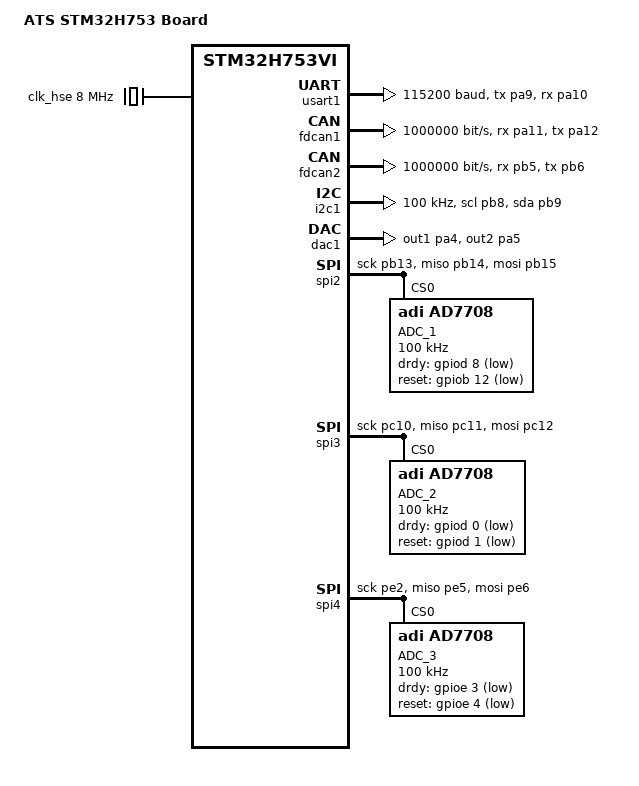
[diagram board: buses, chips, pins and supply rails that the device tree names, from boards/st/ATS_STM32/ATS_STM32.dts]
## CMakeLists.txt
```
# SPDX-License-Identifier: Apache-2.0
cmake_minimum_required(VERSION 3.20.0)

# Generate compile_commands.json for clangd and other tooling.
set(CMAKE_EXPORT_COMPILE_COMMANDS ON)

list(APPEND BOARD_ROOT ${CMAKE_CURRENT_SOURCE_DIR})

find_package(Zephyr REQUIRED HINTS $ENV{ZEPHYR_BASE})
project(ATS_STM32)

target_include_directories(app PRIVATE
    ${CMAKE_CURRENT_SOURCE_DIR}/include
)

# Build only the small set of source files needed for the current bring-up task.
# This keeps old project-specific code out of the build while the new hardware
# test program is being brought up.
target_sources(app PRIVATE
    ${CMAKE_CURRENT_SOURCE_DIR}/src/main.cpp
    ${CMAKE_CURRENT_SOURCE_DIR}/src/hardware.cpp
    ${CMAKE_CURRENT_SOURCE_DIR}/src/adc.cpp
    ${CMAKE_CURRENT_SOURCE_DIR}/src/gpio.cpp
)
```

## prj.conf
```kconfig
CONFIG_CAN=y
CONFIG_DAC=y
CONFIG_GPIO=y
CONFIG_SPI=y
CONFIG_LOG=y
CONFIG_LOG_MODE_IMMEDIATE=y
CONFIG_LOG_DEFAULT_LEVEL=3
CONFIG_LOG_BACKEND_FORMAT_TIMESTAMP=y
CONFIG_LOG_BACKEND_SHOW_COLOR=y
CONFIG_MAIN_STACK_SIZE=8192


CONFIG_CBPRINTF_FP_SUPPORT=y

CONFIG_CPP=y
CONFIG_CPP_EXCEPTIONS=y
CONFIG_GLIBCXX_LIBCPP=y
CONFIG_REQUIRES_FULL_LIBCPP=y
CONFIG_CAN_STATS=y

# Keep your custom compiler flag:
CONFIG_COMPILER_OPT="-ftrack-macro-expansion=0"
CONFIG_THREAD_MONITOR=y
CONFIG_THREAD_STACK_INFO=y
CONFIG_HEAP_MEM_POOL_SIZE=16384
CONFIG_SYSTEM_WORKQUEUE_STACK_SIZE=2048
CONFIG_SYS_HEAP_RUNTIME_STATS=y
CONFIG_PRINTK=y  

CONFIG_THREAD_RUNTIME_STATS=y
CONFIG_DEBUG_OPTIMIZATIONS=y

CONFIG_SCHED_THREAD_USAGE=y
CONFIG_CPU_LOAD=y
CONFIG_STATS=y



# threading
CONFIG_MULTITHREADING=y 
CONFIG_NUM_COOP_PRIORITIES=127
CONFIG_NUM_PREEMPT_PRIORITIES=127
CONFIG_SCHED_SCALABLE=y
```

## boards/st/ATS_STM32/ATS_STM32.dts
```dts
/*
 * Created by Luke Tighe 4/9/26
 * SPDX-License-Identifier: Apache-2.0
 */

/dts-v1/;
/* Base STM32H753 SoC description. */
#include <st/h7/stm32h753Xi.dtsi>
/* STM32H753 pinmux labels used by pinctrl-0 entries below. */
#include <st/h7/stm32h753vitx-pinctrl.dtsi>
/* STM32 pinmux helper macros used for custom SPI4 pin definitions below. */
#include <zephyr/dt-bindings/pinctrl/stm32-pinctrl.h>

/ {
	/* Human-readable board identification shown in generated metadata. */
	model = "ATS STM32H753 Board";
	/* Board-specific compatible, followed by the STM32H753VI SoC family. */
	compatible = "vnd,ats-stm32", "st,stm32h753vi";

	/* Default system resources Zephyr should bind to at boot. */
	chosen {
		/* UART used for printk/logging output. */
		zephyr,console = &usart1;
		/* UART used by the Zephyr shell, if enabled. */
		zephyr,shell-uart = &usart1;
		/* Main SRAM region used for runtime allocations and data. */
		zephyr,sram = &sram0;
		/* On-chip flash used for the application image. */
		zephyr,flash = &flash0;
		/* Default CAN controller for application code and samples. */
		zephyr,canbus = &fdcan1;
	};

	/*
	 * Convenience aliases for the three external SPI ADCs and the hall-effect
	 * interrupt line.
	 * Assumption: no separate CS pin was provided, so each ADC is the only
	 * device on its SPI bus and chip select is handled externally in hardware.
	 */
	aliases {
		adc-spi1 = &ADC_1;
		adc-spi2 = &ADC_2;
		adc-spi3 = &ADC_3;
		adc1-disable = &adc1_disable;
		adc2-disable = &adc2_disable;
		adc3-disable = &adc3_disable;
		i2c-irq = &HallEffect_1;
	};

	/* Named board-level GPIO resources that application code can look up. */
	board_signals {
		/*
		 * ADC disable lines are active high.
		 * External pull-ups on the board keep the ADCs disabled until firmware
		 * actively drives these lines low.
		 */
		adc1_disable: adc1-disable {
			gpios = <&gpiod 2 GPIO_ACTIVE_HIGH>;
			label = "ADC1 Disable";
		};

		adc2_disable: adc2-disable {
			gpios = <&gpiod 4 GPIO_ACTIVE_HIGH>;
			label = "ADC2 Disable";
		};

		adc3_disable: adc3-disable {
			gpios = <&gpioc 13 GPIO_ACTIVE_HIGH>;
			label = "ADC3 Disable";
		};

		/* Hall-effect sensor interrupt line on PE1. */
		HallEffect_1: hall-effect-1 {
			gpios = <&gpioe 1 GPIO_ACTIVE_LOW>;
			label = "Hall Effect 1";
		};
	};
};

/* External high-speed clock source feeding the PLLs. */
&clk_hse {
	clock-frequency = <DT_FREQ_M(8)>;
	status = "okay";
};

/* Main PLL generates the 480 MHz system clock tree. */
&pll {
	div-m = <2>;
	mul-n = <240>;
	div-p = <2>;
	div-q = <2>;
	div-r = <2>;
	clocks = <&clk_hse>;
	status = "okay";
};

/* Secondary PLL is used here to generate the FDCAN kernel clock. */
&pll2 {
	div-m = <4>;
	mul-n = <120>;
	div-p = <2>;
	div-q = <3>;
	div-r = <2>;
	clocks = <&clk_hse>;
	status = "okay";
};

/* RCC selects the system clock source and bus prescalers. */
&rcc {
	clocks = <&pll>;
	clock-frequency = <DT_FREQ_M(480)>;
	d1cpre = <1>;
	hpre = <2>;
	d1ppre = <2>;
	d2ppre1 = <2>;
	d2ppre2 = <2>;
	d3ppre = <2>;
};

/* STM32H7 power configuration. "ldo" matches a typical direct LDO setup. */
&pwr {
	power-supply = "ldo";
};

/* Enable GPIO controller blocks so pins can be configured from application code. */
&gpioa { status = "okay"; };
&gpiob { status = "okay"; };
&gpioc { status = "okay"; };
&gpiod { status = "okay"; };
&gpioe { status = "okay"; };

/* Primary debug/logging UART routed to PA9/PA10. */
&usart1 {
	pinctrl-0 = <&usart1_tx_pa9 &usart1_rx_pa10>;
	pinctrl-names = "default";
	current-speed = <115200>;
	status = "okay";
};

/* CAN1 */
&fdcan1 {
	clocks = <&rcc STM32_CLOCK(APB1_2, 8)>,
		 <&rcc STM32_SRC_PLL2_Q FDCAN_SEL(2)>;
	pinctrl-0 = <&fdcan1_rx_pa11 &fdcan1_tx_pa12>;
	pinctrl-names = "default";
	/* 1 Mbit/s nominal bitrate with an 87.5% sample point. */
	bitrate = <1000000>;
	sample-point = <875>;
	status = "okay";
};

/* CAN2 */
&fdcan2 {
	clocks = <&rcc STM32_CLOCK(APB1_2, 9)>,
		 <&rcc STM32_SRC_PLL2_Q FDCAN_SEL(2)>;
	pinctrl-0 = <&fdcan2_rx_pb5 &fdcan2_tx_pb6>;
	pinctrl-names = "default";
	bitrate = <1000000>;
	sample-point = <875>;
	status = "okay";
};

/* I2C1 routed to PB8/PB9 for external peripherals. */
&i2c1 {
	pinctrl-0 = <&i2c1_scl_pb8 &i2c1_sda_pb9>;
	pinctrl-names = "default";
	status = "okay";
	clock-frequency = <I2C_BITRATE_STANDARD>;
};

/*
 * DAC1 exposes two analog outputs on PA4 and PA5.
 * These pins are dedicated DAC outputs in the current firmware.
 */
&dac1 {
	pinctrl-0 = <&dac1_out1_pa4 &dac1_out2_pa5>;
	pinctrl-names = "default";
	status = "okay";
};

/* ADC1 SPI bus: PB15 MOSI, PB14 MISO, PB13 SCK. */
&spi2 {
	pinctrl-0 = <&spi2_sck_pb13 &spi2_miso_pb14 &spi2_mosi_pb15>;
	pinctrl-names = "default";
	status = "okay";

	/* AD7708 #1 control signals: PD8 DRDY, PB12 reset. */
	ADC_1: adc@0 {
		compatible = "adi,ad7708";
		reg = <0>;
		spi-max-frequency = <100000>;
		drdy-gpios = <&gpiod 8 GPIO_ACTIVE_LOW>;
		reset-gpios = <&gpiob 12 GPIO_ACTIVE_LOW>;
		status = "okay";
	};
};

/* ADC2 SPI bus: PC12 MOSI, PC11 MISO, PC10 SCK. */
&spi3 {
	pinctrl-0 = <&spi3_sck_pc10 &spi3_miso_pc11 &spi3_mosi_pc12>;
	pinctrl-names = "default";
	status = "okay";

	/* AD7708 #2 control signals: PD0 DRDY, PD1 reset. */
	ADC_2: adc@0 {
		compatible = "adi,ad7708";
		reg = <0>;
		spi-max-frequency = <100000>;
		drdy-gpios = <&gpiod 0 GPIO_ACTIVE_LOW>;
		reset-gpios = <&gpiod 1 GPIO_ACTIVE_LOW>;
		status = "okay";
	};
};

/* ADC3 SPI bus: PE6 MOSI, PE5 MISO, PE2 SCK. */
&spi4 {
	pinctrl-0 = <&spi4_sck_pe2 &spi4_miso_pe5 &spi4_mosi_pe6>;
	pinctrl-names = "default";
	status = "okay";

	/* AD7708 #3 control signals: PE3 DRDY, PE4 reset. */
	ADC_3: adc@0 {
		compatible = "adi,ad7708";
		reg = <0>;
		spi-max-frequency = <100000>;
		drdy-gpios = <&gpioe 3 GPIO_ACTIVE_LOW>;
		reset-gpios = <&gpioe 4 GPIO_ACTIVE_LOW>;
		status = "okay";
	};
};

/* Custom pinctrl entries for SPI4 on GPIOE, since these pins are board-specific. */
&pinctrl {
	spi4_sck_pe2: spi4_sck_pe2 {
		pinmux = <STM32_PINMUX('E', 2, AF5)>;
	};

	spi4_miso_pe5: spi4_miso_pe5 {
		pinmux = <STM32_PINMUX('E', 5, AF5)>;
	};

	spi4_mosi_pe6: spi4_mosi_pe6 {
		pinmux = <STM32_PINMUX('E', 6, AF5)>;
	};
};
```

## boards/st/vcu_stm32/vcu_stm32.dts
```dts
/*
 * Copyright (c) 2025 VCU Team
 * SPDX-License-Identifier: Apache-2.0
 */

/dts-v1/;
#include <st/h7/stm32h753Xi.dtsi>
#include <st/h7/stm32h753zitx-pinctrl.dtsi>
#include <zephyr/dt-bindings/input/input-event-codes.h>

/ {
	model = "VCU STM32H753VIT6 Custom Board";
	compatible = "st,stm32h753vi";

	chosen {
		zephyr,console = &usart3;
		zephyr,shell-uart = &usart3;
		zephyr,sram = &sram0;
		zephyr,flash = &flash0;
		zephyr,dtcm = &dtcm;
		zephyr,canbus = &fdcan1;
	};

	leds {
		compatible = "gpio-leds";
		err_led_yellow: led_0 {
			gpios = <&gpioe 2 GPIO_ACTIVE_HIGH>;
			label = "ERR LED Yellow";
		};
		err_led_orange: led_1 {
			gpios = <&gpioe 3 GPIO_ACTIVE_HIGH>;
			label = "ERR LED Orange";
		};
		err_led_red: led_2 {
			gpios = <&gpioe 4 GPIO_ACTIVE_HIGH>;
			label = "ERR LED Red";
		};
		err_led_blue: led_3 {
			gpios = <&gpioe 5 GPIO_ACTIVE_HIGH>;
			label = "ERR LED Blue";
		};
		err_led_green: led_4 {
			gpios = <&gpioe 6 GPIO_ACTIVE_HIGH>;
			label = "ERR LED Green";
		};
	};

	vcu_signals {
		compatible = "gpio-leds";
		horn_signal: horn_sig {
			gpios = <&gpioc 8 GPIO_ACTIVE_HIGH>;
			label = "Horn Signal";
		};
		drive_enable: drive_en {
			gpios = <&gpioc 9 GPIO_ACTIVE_HIGH>;
			label = "Drive Enable";
		};
		air_ctrl: air_control {
			gpios = <&gpioa 8 GPIO_ACTIVE_HIGH>;
			label = "AIR Control";
		};
	};

	aliases {
		led0 = &err_led_yellow;
		led1 = &err_led_orange;
		led2 = &err_led_red;
		led3 = &err_led_blue;
		led4 = &err_led_green;
		horn = &horn_signal;
		drive-enable = &drive_enable;
		air-ctrl = &air_ctrl;
	};
};

// &clk_lse {
// 	status = "okay";
// };




&clk_hsi {
	status = "okay";
};

&pll {
    div-m = <16>;     // 64 MHz / 16 = 4 MHz (same as Nucleo!)
    mul-n = <240>;    // 4 MHz × 240 = 960 MHz VCO ✓
    div-p = <2>;      // 960 / 2 = 480 MHz ✓
    div-q = <2>;      // 960 / 2 = 480 MHz
    div-r = <2>;      // 960 / 2 = 480 MHz
    clocks = <&clk_hsi>;  // ← Changed from HSE to HSI
    status = "okay";
};

&pll2 {
    div-m = <32>;     // 64 MHz / 32 = 2 MHz
    mul-n = <120>;    // 2 MHz × 120 = 240 MHz VCO
    div-p = <2>;      // 240 / 2 = 120 MHz
    div-q = <3>;      // 240 / 3 = 80 MHz (for FDCAN) ✓
    div-r = <2>;      // 240 / 2 = 120 MHz
    clocks = <&clk_hsi>;  // ← Changed from HSE to HSI
    status = "okay";
};

&rcc {
    clocks = <&pll>;
    clock-frequency = <DT_FREQ_M(480)>;
    d1cpre = <1>;
    hpre = <2>;
    d1ppre = <2>;
    d2ppre1 = <2>;
    d2ppre2 = <2>;
    d3ppre = <2>;
};

/* Enable GPIO ports */
&gpioa {
	status = "okay";
};

&gpiob {
	status = "okay";
};

&gpioc {
	status = "okay";
};

&gpiod {
	status = "okay";
};

&gpioe {
	status = "okay";
};

&usart3 {
	pinctrl-0 = <&usart3_tx_pd8 &usart3_rx_pd9>;
	pinctrl-names = "default";
	current-speed = <115200>;
	status = "okay";
};

&fdcan1 {
	clocks = <&rcc STM32_CLOCK_BUS_APB1_2 0x00000100>,
		 <&rcc STM32_SRC_PLL2_Q FDCAN_SEL(2)>;
	pinctrl-0 = <&fdcan1_rx_pb8 &fdcan1_tx_pb9>;
	pinctrl-names = "default";
	status = "okay";
};

&fdcan2 {
	clocks = <&rcc STM32_CLOCK_BUS_APB1_2 0x00000200>,
		 <&rcc STM32_SRC_PLL2_Q FDCAN_SEL(2)>;
	pinctrl-0 = <&fdcan2_rx_pb5 &fdcan2_tx_pb6>;
	pinctrl-names = "default";
	status = "okay";
};

&adc1 {
	pinctrl-0 = <&adc1_inp16_pa0 &adc1_inp17_pa1 
	             &adc1_inp14_pa2 &adc1_inp15_pa3
	             &adc1_inp18_pa4 &adc1_inp19_pa5
	             &adc1_inp3_pa6 &adc1_inp7_pa7>;
	pinctrl-names = "default";
	st,adc-clock-source = "SYNC";
	st,adc-prescaler = <4>;
	vref-mv = <3300>;
	status = "okay";

	#address-cells = <1>;
	#size-cells = <0>;

	channel@0 {
		reg = <0>;
		zephyr,gain = "ADC_GAIN_1";
		zephyr,reference = "ADC_REF_VDD_1";
		zephyr,acquisition-time = <ADC_ACQ_TIME_DEFAULT>;
		zephyr,resolution = <12>;
		zephyr,input-positive = <16>;  /* PA0 - INP16 */
	};

	channel@1 {
		reg = <1>;
		zephyr,gain = "ADC_GAIN_1";
		zephyr,reference = "ADC_REF_VDD_1";
		zephyr,acquisition-time = <ADC_ACQ_TIME_DEFAULT>;
		zephyr,resolution = <12>;
		zephyr,input-positive = <17>;  /* PA1 - INP17 */
	};

	channel@2 {
		reg = <2>;
		zephyr,gain = "ADC_GAIN_1";
		zephyr,reference = "ADC_REF_VDD_1";
		zephyr,acquisition-time = <ADC_ACQ_TIME_DEFAULT>;
		zephyr,resolution = <12>;
		zephyr,input-positive = <14>;  /* PA2 - INP14 */
	};

	channel@3 {
		reg = <3>;
		zephyr,gain = "ADC_GAIN_1";
		zephyr,reference = "ADC_REF_VDD_1";
		zephyr,acquisition-time = <ADC_ACQ_TIME_DEFAULT>;
		zephyr,resolution = <12>;
		zephyr,input-positive = <15>;  /* PA3 - INP15 */
	};

	channel@4 {
		reg = <4>;
		zephyr,gain = "ADC_GAIN_1";
		zephyr,reference = "ADC_REF_VDD_1";
		zephyr,acquisition-time = <ADC_ACQ_TIME_DEFAULT>;
		zephyr,resolution = <12>;
		zephyr,input-positive = <18>;  /* PA4 - INP18 */
	};

	channel@5 {
		reg = <5>;
		zephyr,gain = "ADC_GAIN_1";
		zephyr,reference = "ADC_REF_VDD_1";
		zephyr,acquisition-time = <ADC_ACQ_TIME_DEFAULT>;
		zephyr,resolution = <12>;
		zephyr,input-positive = <19>;  /* PA5 - INP19 */
	};

	channel@6 {
		reg = <6>;
		zephyr,gain = "ADC_GAIN_1";
		zephyr,reference = "ADC_REF_VDD_1";
		zephyr,acquisition-time = <ADC_ACQ_TIME_DEFAULT>;
		zephyr,resolution = <12>;
		zephyr,input-positive = <3>;   /* PA6 - INP3 */
	};

	channel@7 {
		reg = <7>;
		zephyr,gain = "ADC_GAIN_1";
		zephyr,reference = "ADC_REF_VDD_1";
		zephyr,acquisition-time = <ADC_ACQ_TIME_DEFAULT>;
		zephyr,resolution = <12>;
		zephyr,input-positive = <7>;   /* PA7 - INP7 */
	};
};
&pinctrl {
    adc1_inp16_pa0: adc1_inp16_pa0 {
        pinmux = <STM32_PINMUX('A', 0, ANALOG)>;
    };
    adc1_inp17_pa1: adc1_inp17_pa1 {
        pinmux = <STM32_PINMUX('A', 1, ANALOG)>;
    };
    adc1_inp14_pa2: adc1_inp14_pa2 {
        pinmux = <STM32_PINMUX('A', 2, ANALOG)>;
    };
    adc1_inp15_pa3: adc1_inp15_pa3 {
        pinmux = <STM32_PINMUX('A', 3, ANALOG)>;
    };
    adc1_inp18_pa4: adc1_inp18_pa4 {
        pinmux = <STM32_PINMUX('A', 4, ANALOG)>;
    };
    adc1_inp19_pa5: adc1_inp19_pa5 {
        pinmux = <STM32_PINMUX('A', 5, ANALOG)>;
    };
    adc1_inp3_pa6: adc1_inp3_pa6 {
        pinmux = <STM32_PINMUX('A', 6, ANALOG)>;
    };
    adc1_inp7_pa7: adc1_inp7_pa7 {
        pinmux = <STM32_PINMUX('A', 7, ANALOG)>;
    };
};

&flash0 {
	partitions {
		compatible = "fixed-partitions";
		#address-cells = <1>;
		#size-cells = <1>;

		boot_partition: partition@0 {
			label = "mcuboot";
			reg = <0x00000000 DT_SIZE_K(128)>;
		};
		slot0_partition: partition@20000 {
			label = "image-0";
			reg = <0x00020000 DT_SIZE_K(448)>;
		};
		slot1_partition: partition@90000 {
			label = "image-1";
			reg = <0x00090000 DT_SIZE_K(448)>;
		};
		storage_partition: partition@100000 {
			label = "storage";
			reg = <0x00100000 DT_SIZE_K(1024)>;
		};
	};
};
```

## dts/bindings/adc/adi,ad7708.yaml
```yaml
# SPDX-License-Identifier: Apache-2.0

description: Analog Devices AD7708 SPI ADC

compatible: "adi,ad7708"

include: [base.yaml, spi-device.yaml]

properties:
  drdy-gpios:
    type: phandle-array
    required: true
    description: Data-ready output from the ADC.

  reset-gpios:
    type: phandle-array
    required: true
    description: Hardware reset input for the ADC.
```

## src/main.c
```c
/*
 * Copyright (c) 2016 Intel Corporation
 *
 * SPDX-License-Identifier: Apache-2.0
 */

#include "CanInitializer.h"
#include <stdio.h>
#include <sys/_intsup.h>
#include <zephyr/drivers/gpio.h>
#include <zephyr/kernel.h>

/* 1000 msec = 1 sec */
#define SLEEP_TIME_MS 1000

#define DEBUGGING 0

// Placeholder values while we do not have read numbers (most likely same as 24 car)
const int ocThreshold = 1; // Open Circuit threshold
const int scThreshold = 2;  // Short Circuit threshold

// Class for the pedals contains how to read pedal positions and check Open Circuit and Short Circuit faults
struct pedalSensor {
    const int inputPin;
    const int zeroPos;
    const int fullPos;
    const int onLedPin;
    const int ocLedPin;
    const int scLedPin;

    public:
        float pedalPercentage() const {
            float percent = ((float) analogRead(inputPin) - zeroPos) / (fullPos - zeroPos);
            if (percent < 0.0f) {
                percent = 0.0f;
            } else if (percent > 1.0f) {
                percent = 1.0f;
            }
            return percent;
        }

        // Checks for a Short Circuit by reading the value of the sensor and comparing it to the threshold defined above
        bool checkOpenCircuit() const {
            bool isOpenCircuit = analogRead(inputPin) < ocThreshold;
            digitalWrite(ocLedPin, isOpenCircuit);
            #ifdef DEBUGGING
            printf("Pedal %d: Open Circuit %s\n", inputPin, isOpenCircuit ? "detected" : "not detected");
            #endif
            return isOpenCircuit;
        }

        // Checks for a Short Circuit by reading the value of the sensor and comparing it to the threshold defined above
        bool checkShortCircuit() const {
            bool isShortCircuit = analogRead(inputPin) > scThreshold;
            digitalWrite(scLedPin, isShortCircuit);
            #ifdef DEBUGGING
            printf("Pedal %d: Short Circuit %s\n", inputPin, isShortCircuit ? "detected" : "not detected");
            #endif
            return isShortCircuit;
        }
}

/* The devicetree node identifier for the "led0" alias. */

/*
 * A build error on this line means your board is unsupported.
 * See the sample documentation for information on how to fix this.
 */

int main(void) {}
```

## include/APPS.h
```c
#pragma once

#include "hardware.h"
#include "periodic_task.h"
#include "vehicle_state.h"

class APPSTask : public PeriodicTask<APPSTask>
{
    friend class PeriodicTask<APPSTask>;

  public:
    void set_hardware(Hardware *hw)
    {
        hardware_ = hw;
    }

  private:
    Hardware *hardware_ = nullptr;
    int64_t agreement_fault_deadline_ = 0;
    bool brake_fault_latched_ = false;

    void on_init();
    void run();

    float readPedalPercent(uint16_t raw, uint16_t low, uint16_t range, PEDAL_SLOPE_DIRECTION slope);
    bool checkOpenCircuit(uint16_t raw, uint16_t low_threshold);
    bool checkShortCircuit(uint16_t raw, uint16_t high_threshold);
    bool checkPedalAgreement(float p1_pct, float p2_pct);
    bool checkBrakeOverlap(float avg_pct);
};

// Start the APPS task. Stack and task instance are owned inside APPS.cpp.
void start_apps_task(VehicleState *v, Hardware *hw, uint32_t period_ms = 100, int priority = 5);

APPSTask &get_apps_task();
```

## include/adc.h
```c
// zephyr_adc.h
#pragma once

/* Fixed-width integer types like uint8_t, uint16_t, and int32_t. */
#include <stdint.h>
/* Zephyr SPI API and spi_dt_spec helper type. */
#include <zephyr/drivers/spi.h>
/* Zephyr GPIO API and gpio_dt_spec helper type. */
#include <zephyr/drivers/gpio.h>
/* Zephyr base device type. */
#include <zephyr/device.h>

/*
 * The AD7708 MODE register selects what the ADC is doing right now.
 * These values are written into the MODE register's MD2..MD0 bits.
 */
enum class AD7708Mode : uint8_t {
    PowerDown = 0,
    Idle = 1,
    SingleConversion = 2,
    ContinuousConversion = 3,
    InternalZeroScaleCalibration = 4,
    InternalFullScaleCalibration = 5,
    SystemZeroScaleCalibration = 6,
    SystemFullScaleCalibration = 7,
};

/*
 * The AD7708 can expose either 8 or 10 pseudo-differential inputs depending
 * on whether pins AIN9/AIN10 are used as extra analog inputs or as REF2.
 */
enum class AD7708ChannelConfiguration : uint8_t {
    EightPseudoDifferentialOrFourDifferential = 0,
    TenPseudoDifferentialOrFiveDifferential = 1,
};

/* Selects which external reference input pair the ADC uses. */
enum class AD7708Reference : uint8_t {
    RefIn1 = 0,
    RefIn2 = 1,
};

/*
 * Programmable input ranges supported by the AD7708 PGA.
 * The correct range depends on the largest signal you expect to measure.
 */
enum class AD7708InputRange : uint8_t {
    Range20mV = 0,
    Range40mV = 1,
    Range80mV = 2,
    Range160mV = 3,
    Range320mV = 4,
    Range640mV = 5,
    Range1V28 = 6,
    Range2V56 = 7,
};

/*
 * Bipolar mode returns codes around mid-scale for zero input.
 * Unipolar mode returns straight-binary codes starting at zero input.
 */
enum class AD7708Polarity : uint8_t {
    Bipolar = 0,
    Unipolar = 1,
};

/* The AD7708 has two optional digital I/O pins, P1 and P2. */
enum class AD7708GpioDirection : uint8_t {
    Input = 0,
    Output = 1,
};

/*
 * Board wiring for one physical AD7708 chip.
 *
 * This should come from devicetree:
 * - spi: which SPI bus and chip-select settings talk to this ADC
 * - drdy: the ADC data-ready pin
 * - reset: the ADC hardware reset pin
 */
struct AD7708Config {
    struct spi_dt_spec spi;
    struct gpio_dt_spec drdy;
    struct gpio_dt_spec reset;
};

/*
 * Runtime settings that control how the AD7708 performs conversions.
 *
 * This is intentionally separate from AD7708Config:
 * - AD7708Config describes board wiring.
 * - AD7708Settings describes ADC behavior.
 */
struct AD7708Settings {
    /* MODE register fields. */
    /* The operating mode to put the ADC in when configure() is called. */
    AD7708Mode mode = AD7708Mode::Idle;
    /* false keeps chop enabled for better analog performance; true improves throughput. */
    bool chop_disabled = false;
    /* Enables the internal AINCOM input buffer. */
    bool aincom_buffer_enabled = false;
    /* Selects REF1 or REF2. */
    AD7708Reference reference = AD7708Reference::RefIn1;
    /* Selects whether the part is used in 8-channel or 10-channel mode. */
    AD7708ChannelConfiguration channel_configuration =
        AD7708ChannelConfiguration::EightPseudoDifferentialOrFourDifferential;
    /* Allows the oscillator to power down while the ADC is in standby/power-down. */
    bool oscillator_power_down_in_standby = false;

    /* ADCCON register fields. */
    /* The AD7708 input channel selected for conversion. */
    uint8_t active_channel = 0;
    /* Selects bipolar or unipolar output coding. */
    AD7708Polarity polarity = AD7708Polarity::Bipolar;
    /* Selects the PGA input range. */
    AD7708InputRange input_range = AD7708InputRange::Range2V56;

    /* FILTER register field. */
    /*
     * Controls output update rate and filtering. The reset default is 0x45.
     * Smaller values are faster; larger values are slower and usually quieter.
     */
    uint8_t filter_word = 0x45;

    /* IOCON register fields for the AD7708 P1/P2 digital I/O pins. */
    /* Direction of AD7708 pin P1. */
    AD7708GpioDirection p1_direction = AD7708GpioDirection::Input;
    /* Direction of AD7708 pin P2. */
    AD7708GpioDirection p2_direction = AD7708GpioDirection::Input;
    /* Output value driven on P1 if P1 is configured as an output. */
    bool p1_output_value = false;
    /* Output value driven on P2 if P2 is configured as an output. */
    bool p2_output_value = false;

    /*
     * Optional user-provided calibration coefficients. The AD7708 has five
     * 16-bit offset registers and five 16-bit gain registers. They should only
     * be written when the ADC is inactive.
     */
    bool write_offset_calibration[5] = {};
    uint16_t offset_calibration[5] = {};
    bool write_gain_calibration[5] = {};
    uint16_t gain_calibration[5] = {};
};

/*
 * Small application-level driver for one AD7708.
 *
 * This is not a full Zephyr ADC subsystem driver. It talks to the chip directly
 * over SPI and returns raw 16-bit conversion codes.
 */
class AD7708
{
  private:
    /* Pulses the hardware reset pin and returns the chip to defaults. */
    int reset();
    /* Writes one 8-bit AD7708 register. */
    int write_reg(uint8_t reg, uint8_t value);
    /* Writes one 16-bit AD7708 register, such as offset/gain calibration. */
    int write_reg16(uint8_t reg, uint16_t value);
    /* Reads one 8-bit AD7708 register. */
    int read_reg(uint8_t reg, uint8_t *value);
    /* Reads one 16-bit AD7708 register, such as the conversion result. */
    int read_reg16(uint8_t reg, uint16_t *value);
    /* Waits until the AD7708 asserts its DRDY pin. */
    int wait_data_ready();
    /* Packs AD7708Settings into register values and writes them to the chip. */
    int write_settings_registers(const AD7708Settings &settings, AD7708Mode mode);

    /* Pointer to the board wiring/configuration for this AD7708 instance. */
    const AD7708Config *config_;
    /* Last settings successfully written to the chip. */
    AD7708Settings settings_;
    /* Tracks whether configure() or read_raw() has written settings yet. */
    bool configured_;

  public:
    /* Store the config pointer. Call init() before trying to use the ADC. */
    explicit AD7708(const AD7708Config *config);
    /* Check that SPI/GPIO devices are ready and reset the ADC. */
    int init();
    /* Apply ADC operating settings. */
    int configure(const AD7708Settings &settings);
    /* Read one raw 16-bit conversion from the requested channel. */
    int read_raw(uint8_t channel, int32_t *sample);

};
```

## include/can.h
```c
#pragma once
#include <zephyr/drivers/can.h>
#include <zephyr/kernel.h>

#include "vehicle_state.h"

using frame_handler_t = void (*)(const struct can_frame *frame, volatile VehicleState *vehicle);

class CanBus
{
  private:
    const struct device *dev_;
    uint32_t bitrate_;
    uint32_t sample_point_;
    bool initialized_;
    bool started_;
    VehicleState *vehicle_;
    uint32_t frames_rec;
    uint32_t frames_sent;

    static void can1_rx_isr(const struct device *dev, struct can_frame *frame, void *self_ptr);
    static void can2_rx_isr(const struct device *dev, struct can_frame *frame, void *self_ptr);
    void dispatch(const struct can_frame *frame);

    frame_handler_t bus_handlers[2048]{nullptr};

  public:
    CanBus(VehicleState *vehicle);

    int init(const struct device *dev, uint32_t bitrate = 1000000, uint32_t sample_point = 875);
    int start();
    int stop();

    int send(const struct can_frame *frame, k_timeout_t timeout, can_tx_callback_t callback = nullptr,
             void *user_data = nullptr);

    int register_handler(uint16_t standard_id, frame_handler_t handler);
    int add_rx_filter_msgq(struct k_msgq *msgq, const struct can_filter *filter);
    void remove_rx_filter(int filter_id);

    int get_state(enum can_state *state) const;
    int set_mode(can_mode_t mode);
    can_mode_t get_mode() const;

    bool is_initialized() const
    {
        return initialized_;
    }
    bool is_started() const
    {
        return started_;
    }

    const struct device *get_device() const
    {
        return dev_;
    }
};
```

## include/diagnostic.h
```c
#pragma once
#include "zephyr-common.h"

/* can_init ENCAPSULATES ALL CAN INITIALIZATION AND STARTUP CONFIGURATION
 * BEHAVIOR */
uint8_t diagnostics_init();
```

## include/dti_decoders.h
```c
// dti_decoders.h
#pragma once
#include <zephyr/kernel.h>
#include <zephyr/drivers/can.h>
#include "vehicle_state.h"

// ============================================================================
// Manual: DTI CAN Manual V2.5 — Standard ID (11-bit) format
// CAN ID = (packet_id << 5) | node_id
// Node ID range: 1-30, broadcast = 31 (0x1F)
//
// Node IDs:  FL=22  FR=23  RL=24  RR=25
//
// Registration example:
//   can2.register_handler((0x1F << 5) | 22, decode_dti_fl_0x1F);  // 0x3F6
//   can2.register_handler((0x20 << 5) | 22, decode_dti_fl_0x20);  // 0x416
//   can2.register_handler((0x20 << 5) | 23, decode_dti_fr_0x20);  // 0x417
//   ...
// Max ID = (0x26 << 5) | 25 = 0x4D9 (1241) — fits in 2048 table
// ============================================================================

// --- Packet 0x1F: Control mode, Target Iq, Motor position, isMotorStill ---
void decode_dti_fl_0x1F(const struct can_frame *frame, volatile VehicleState *vd);
void decode_dti_fr_0x1F(const struct can_frame *frame, volatile VehicleState *vd);
void decode_dti_rl_0x1F(const struct can_frame *frame, volatile VehicleState *vd);
void decode_dti_rr_0x1F(const struct can_frame *frame, volatile VehicleState *vd);

// --- Packet 0x20: ERPM, Duty, Input Voltage ---
void decode_dti_fl_0x20(const struct can_frame *frame, volatile VehicleState *vd);
void decode_dti_fr_0x20(const struct can_frame *frame, volatile VehicleState *vd);
void decode_dti_rl_0x20(const struct can_frame *frame, volatile VehicleState *vd);
void decode_dti_rr_0x20(const struct can_frame *frame, volatile VehicleState *vd);

// --- Packet 0x21: AC Current, DC Current ---
void decode_dti_fl_0x21(const struct can_frame *frame, volatile VehicleState *vd);
void decode_dti_fr_0x21(const struct can_frame *frame, volatile VehicleState *vd);
void decode_dti_rl_0x21(const struct can_frame *frame, volatile VehicleState *vd);
void decode_dti_rr_0x21(const struct can_frame *frame, volatile VehicleState *vd);

// --- Packet 0x22: Controller Temp, Motor Temp, Fault Code ---
void decode_dti_fl_0x22(const struct can_frame *frame, volatile VehicleState *vd);
void decode_dti_fr_0x22(const struct can_frame *frame, volatile VehicleState *vd);
void decode_dti_rl_0x22(const struct can_frame *frame, volatile VehicleState *vd);
void decode_dti_rr_0x22(const struct can_frame *frame, volatile VehicleState *vd);

// --- Packet 0x23: Id, Iq ---
void decode_dti_fl_0x23(const struct can_frame *frame, volatile VehicleState *vd);
void decode_dti_fr_0x23(const struct can_frame *frame, volatile VehicleState *vd);
void decode_dti_rl_0x23(const struct can_frame *frame, volatile VehicleState *vd);
void decode_dti_rr_0x23(const struct can_frame *frame, volatile VehicleState *vd);

// --- Packet 0x24: Throttle, Brake, Digital I/O, Drive Enable, Limits ---
void decode_dti_fl_0x24(const struct can_frame *frame, volatile VehicleState *vd);
void decode_dti_fr_0x24(const struct can_frame *frame, volatile VehicleState *vd);
void decode_dti_rl_0x24(const struct can_frame *frame, volatile VehicleState *vd);
void decode_dti_rr_0x24(const struct can_frame *frame, volatile VehicleState *vd);

// --- Packet 0x25: Configured/Available AC Currents ---
void decode_dti_fl_0x25(const struct can_frame *frame, volatile VehicleState *vd);
void decode_dti_fr_0x25(const struct can_frame *frame, volatile VehicleState *vd);
void decode_dti_rl_0x25(const struct can_frame *frame, volatile VehicleState *vd);
void decode_dti_rr_0x25(const struct can_frame *frame, volatile VehicleState *vd);

// --- Packet 0x26: Configured/Available DC Currents ---
void decode_dti_fl_0x26(const struct can_frame *frame, volatile VehicleState *vd);
void decode_dti_fr_0x26(const struct can_frame *frame, volatile VehicleState *vd);
void decode_dti_rl_0x26(const struct can_frame *frame, volatile VehicleState *vd);
void decode_dti_rr_0x26(const struct can_frame *frame, volatile VehicleState *vd);
```

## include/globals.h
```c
#pragma once
#include "zephyr-common.h"

extern const struct k_heap *sys_heap;
extern const struct device *can1; 
```

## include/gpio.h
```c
#pragma once
#include <zephyr/drivers/gpio.h>

class GpioPin {
private:
    const struct device* port_;
    gpio_pin_t pin_;
    gpio_flags_t flags_;
    bool initialized_;

public:
    GpioPin();
    
    int init(const struct device* port, gpio_pin_t pin, gpio_flags_t flags);
    int init(const struct gpio_dt_spec* spec, gpio_flags_t flags);
    
    int set(bool state);
    int toggle();
    int get(bool* state) const;
    
    bool is_initialized() const { return initialized_; }
};
```

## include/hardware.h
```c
// hardware.h
#pragma once

#include "adc.h"
#include "gpio.h"
#include <zephyr/devicetree.h>
#include <zephyr/drivers/dac.h>

class Hardware
{
  public:
    /* Creates the hardware helper object used by main.cpp. */
    Hardware();

    /* Turns on the parts of the board needed for the current test program. */
    int init();
    /* Writes a 12-bit DAC code to PA4. */
    int setDAC1Value(uint16_t value);
    /* Writes a 12-bit DAC code to PA5. */
    int setDAC2Value(uint16_t value);
    /* Shared helper used by both DAC outputs. */
    int setDACValue(uint8_t channel, uint16_t value);
    /* Reads one ADC1 channel using the channel number printed in the AD7708 datasheet. */
    int readADC1Channel(uint8_t channel_number, int32_t *sample);

  private:
    /* This points at the STM32 DAC peripheral that drives PA4 and PA5. */
    const struct device *dac1_dev_ = nullptr;
    /* This object talks to the first external AD7708 ADC over SPI. */
    AD7708 adc1_;
    /* This GPIO must be driven low so ADC1 is allowed to run. */
    GpioPin adc1_disable;

    /* Turns on and configures the first external ADC. */
    int initializeADC1();
    /* Turns on and configures both DAC outputs. */
    int initializeDACs();
};
```

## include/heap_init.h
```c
#pragma once
#include "zephyr-common.h"
#include "zephyr/kernel.h"

/* heap_init encapsulates heap initialization, returns heap ptr */
k_heap* heap_init(void);
```

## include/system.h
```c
#pragma once

#include "hardware.h"
#include "periodic_task.h"
#include <zephyr/debug/cpu_load.h>
#include <zephyr/kernel.h>
#include <zephyr/sys/mem_stats.h>
#include <zephyr/sys/sys_heap.h>

// System manages the shared heap and exposes system-level stats.
// Threading has moved to DiagnosticsTask below.
class System
{
public:
    int init();

    void    *heap_alloc(size_t size, k_timeout_t timeout);
    void     heap_free(void *ptr);
    int      get_heap_stats(struct sys_memory_stats *stats);
    uint64_t get_uptime_ms() const;
    uint8_t  get_cpu_load() const;
    bool     is_initialized() const { return initialized_; }

private:
    struct k_heap heap_;
    bool          initialized_ = false;
};

// Periodic diagnostics: logs uptime, heap, CPU load, and CAN bus states.
class DiagnosticsTask : public PeriodicTask<DiagnosticsTask>
{
    friend class PeriodicTask<DiagnosticsTask>;

public:
    void set_system(System *sys)    { system_   = sys; }
    void set_hardware(Hardware *hw) { hardware_ = hw;  }

private:
    System   *system_   = nullptr;
    Hardware *hardware_ = nullptr;

    void run();
};

// Start the diagnostics task. Stack and instance are owned inside system.cpp.
void start_diagnostics_task(System *sys, Hardware *hw, VehicleState *v,
                             uint32_t period_ms = 1000, int priority = 10);

DiagnosticsTask &get_diagnostics_task();
```

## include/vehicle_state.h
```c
// vehicle_state.h
#pragma once
#include <zephyr/kernel.h>
#include <zephyr/drivers/can.h>

enum Corner : uint8_t
{
    FRONT_LEFT = 0,
    FRONT_RIGHT = 1,
    REAR_LEFT = 2,
    REAR_RIGHT = 3,
    NUM_CORNERS = 4
};

struct DTI_Inverter
{
    uint8_t node_id;

    // Packet 0x1F: General Data 6
    uint8_t control_mode;    // 1=Speed,2=Current,3=CurrBrake,4=Pos,7=None
    int16_t target_iq;       // [A_pk * 10]
    uint16_t motor_position; // [deg * 10]
    uint8_t is_motor_still;  // 1=still, 0=rotating

    // Packet 0x20: General Data 1
    int32_t erpm;          // [ERPM]
    int16_t duty_cycle;    // [% * 10]
    int16_t input_voltage; // [V]

    // Packet 0x21: General Data 2
    int16_t ac_current; // [A_pk * 10]
    int16_t dc_current; // [A_dc * 10]

    // Packet 0x22: General Data 3
    int16_t controller_temp; // [°C * 10]
    int16_t motor_temp;      // [°C * 10]
    uint8_t fault_code;      // 0x00=None ... 0x0A=AnalogErr

    // Packet 0x23: General Data 4
    int32_t id; // [A_pk * 100]
    int32_t iq; // [A_pk * 100]

    // Packet 0x24: General Data 5
    int8_t throttle_signal; // [%]
    int8_t brake_signal;    // [%]

    bool digital_in1;
    bool digital_in2;
    bool digital_in3;
    bool digital_in4;
    bool digital_out1;
    bool digital_out2;
    bool digital_out3;
    bool digital_out4;

    bool drive_enable;

    bool limit_cap_temp;
    bool limit_dc_current;
    bool limit_drive_enable;
    bool limit_igbt_accel_temp;
    bool limit_igbt_temp;
    bool limit_input_voltage;
    bool limit_motor_accel_temp;
    bool limit_motor_temp;
    bool limit_rpm_min;
    bool limit_rpm_max;
    bool limit_power;

    uint8_t can_map_version;

    // Packet 0x25: Configured and Available AC Currents
    int16_t max_ac_current;       // [A_pk * 10]
    int16_t avail_max_ac_current; // [A_pk * 10]
    int16_t min_ac_current;       // [A_pk * 10]
    int16_t avail_min_ac_current; // [A_pk * 10]

    // Packet 0x26: Configured and Available DC Currents
    int16_t max_dc_current;       // [A_dc * 10]
    int16_t avail_max_dc_current; // [A_dc * 10]
    int16_t min_dc_current;       // [A_dc * 10]
    int16_t avail_min_dc_current; // [A_dc * 10]

    uint64_t last_rx_time_ms;
};

class VehicleState
{
  public:
    DTI_Inverter INVERTERS[Corner::NUM_CORNERS];
};
```

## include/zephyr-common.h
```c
#pragma  once
#include <zephyr/device.h>
#include <zephyr/devicetree.h>
#include <zephyr/drivers/can.h>
#include <zephyr/kernel.h>
#include <zephyr/logging/log.h>
#include <zephyr/types.h>
#include <stdio.h>
#include <sys/_intsup.h>
#include <zephyr/drivers/gpio.h>
#include <zephyr/sys/sys_heap.h>
#include <stddef.h>
#include <stdbool.h>
#include <zephyr/sys/mem_stats.h>
#include <zephyr/toolchain.h>
#include "syscalls/can.h"
#include <zephyr/debug/cpu_load.h>
#include <zephyr/sys/printk.h>
#include <zephyr/drivers/adc.h>
```
